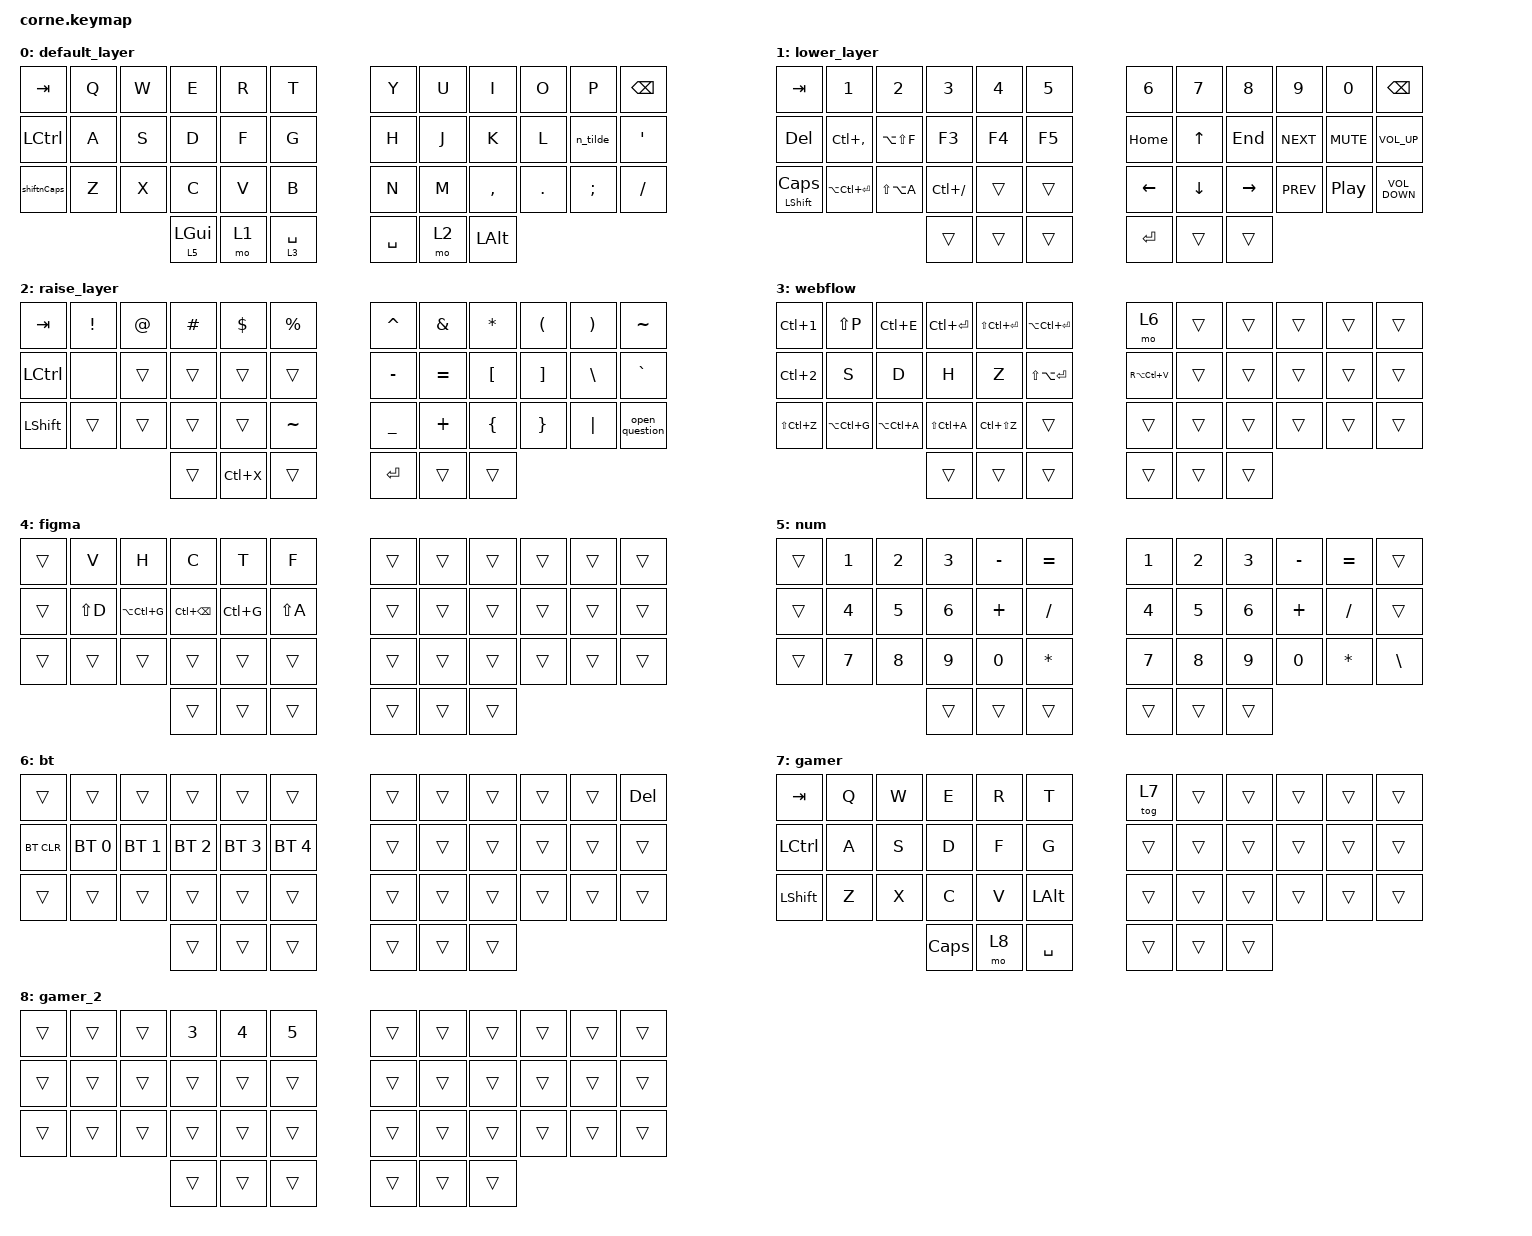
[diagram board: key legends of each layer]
/*
 * Copyright (c) 2020 The ZMK Contributors
 *
 * SPDX-License-Identifier: MIT
 */

#include <behaviors.dtsi>
#include <dt-bindings/zmk/bt.h>
#include <dt-bindings/zmk/keys.h>

/ {
    behaviors {
        shiftnCaps: shiftnCaps {
            compatible = "zmk,behavior-tap-dance";
            label = "Turns caps on on twice";
            #binding-cells = <0>;
            bindings = <&sk LEFT_SHIFT>, <&all_caps_untilspace>;
        };

        all_caps_untilspace: all_caps_untilspace {
            compatible = "zmk,behavior-caps-word";
            label = "ALL_CAPS_UNTILSPACE";
            #binding-cells = <0>;
            continue-list = <A B C D E F G H I J K L M N O P Q R S T U V W X Y Z>;
            mods = <(MOD_LSFT)>;
        };
    };

    macros {
        n_tilde: n_tilde {
            compatible = "zmk,behavior-macro";
            #binding-cells = <0>;
            bindings =
                <&macro_press>,
                <&kp LEFT_ALT>,
                <&macro_tap>,
                <&kp KP_NUMBER_0 &kp KP_NUMBER_2 &kp KP_NUMBER_4 &kp KP_NUMBER_1>,
                <&macro_release>,
                <&kp LEFT_ALT>,
                <&macro_press>;

            label = "N_TILDE";
            wait-ms = <1>;
            tap-ms = <1>;
        };

        open_question: open_question {
            compatible = "zmk,behavior-macro";
            #binding-cells = <0>;
            bindings =
                <&macro_press>,
                <&kp LEFT_ALT>,
                <&macro_tap>,
                <&kp KP_NUMBER_1 &kp KP_NUMBER_6 &kp KP_NUMBER_8>,
                <&macro_release>,
                <&kp LEFT_ALT>,
                <&macro_press>;

            label = "OPEN_QUESTION";
            wait-ms = <1>;
            tap-ms = <1>;
        };
    };

    keymap {
        compatible = "zmk,keymap";

        default_layer {
            // -----------------------------------------------------------------------------------------
            // |  TAB |  Q  |  W  |  E  |  R  |  T  |   |  Y  |  U   |  I  |  O  |  P  | BSPC |
            // | CTRL |  A  |  S  |  D  |  F  |  G  |   |  H  |  J   |  K  |  L  |  ;  |  '   |
            // | SHFT |  Z  |  X  |  C  |  V  |  B  |   |  N  |  M   |  ,  |  .  |  /  | GRAVE  |
            //                    | GUI | LWR | SPC |   | ENT | RSE  | ALT |

            bindings = <
&kp TAB      &kp Q  &kp W  &kp E       &kp R  &kp T          &kp Y      &kp U  &kp I         &kp O       &kp P     &kp BSPC
&kp LCTRL    &kp A  &kp S  &kp D       &kp F  &kp G          &kp H      &kp J  &kp K         &kp L       &n_tilde  &kp APOS
&shiftnCaps  &kp Z  &kp X  &kp C       &kp V  &kp B          &kp N      &kp M  &kp COMMA     &kp PERIOD  &kp SEMI  &kp SLASH
                           &lt 5 LGUI  &mo 1  &lt 3 SPACE    &kp SPACE  &mo 2  &kp LEFT_ALT
            >;
        };

        lower_layer {
            // -----------------------------------------------------------------------------------------
            // |  TAB |  1  |  2  |  3  |  4  |  5  |   |  6  |  7  |  8  |  9  |  0  | BSPC |
            // | BTCLR| BT1 | BT2 | BT3 | BT4 | BT5 |   | LFT | DWN |  UP | RGT |   START   |  END    |
            // | CLOCK | CTRLZ | SS | FMT | F4  | F3 |  |     |      |  K_MUTE   |  K_VOL_DN   |  K_VOL_UP  |  ESC  |
            //                    | GUI |     | SPC |   | ENT |     | ALT |

            bindings = <
&kp TAB              &kp N1             &kp N2         &kp N3         &kp N4  &kp N5    &kp N6    &kp N7          &kp N8     &kp N9      &kp N0      &kp BSPC
&kp DELETE           &kp LC(COMMA)      &kp LA(LS(F))  &kp F3         &kp F4  &kp F5    &kp HOME  &kp UP_ARROW    &kp END    &kp C_NEXT  &kp C_MUTE  &kp C_VOLUME_UP
&mt LSHIFT CAPSLOCK  &kp LA(LC(ENTER))  &kp LS(LA(A))  &kp LC(SLASH)  &trans  &trans    &kp LEFT  &kp DOWN_ARROW  &kp RIGHT  &kp C_PREV  &kp C_PP    &kp C_VOLUME_DOWN
                                                       &trans         &trans  &trans    &kp RET   &trans          &trans
            >;
        };

        raise_layer {
            // -----------------------------------------------------------------------------------------
            // |  TAB |  !  |  @  |  #  |  $  |  %  |   |  ^  |  &  |  *  |  (  |  )  | BSPCDEL |
            // | CTRL |     |     |     |     |     |   |  -  |  =  |  [  |  ]  |  \  |  `   |
            // | SHFT |  F5  |     |     |     |     |   |  _  |  +  |  {  |  }  | "|" |  ~   |
            //                    | GUI |     | SPC |   | ENT |     | ALT |

            bindings = <
&kp TAB    &kp EXCL  &kp AT_SIGN  &kp HASH  &kp DLLR   &kp PRCNT    &kp CARET  &kp AMPS   &kp ASTRK  &kp LPAR  &kp RPAR  &kp TILDE
&kp LCTRL  &none     &trans       &trans    &trans     &trans       &kp MINUS  &kp EQUAL  &kp LBKT   &kp RBKT  &kp BSLH  &kp GRAVE
&kp LSHFT  &trans    &trans       &trans    &trans     &kp TILDE    &kp UNDER  &kp PLUS   &kp LBRC   &kp RBRC  &kp PIPE  &open_question
                                  &trans    &kp LC(X)  &trans       &kp RET    &trans     &trans
            >;
        };

        webflow {
            bindings = <
&kp LC(NUMBER_1)  &kp LS(P)      &kp LC(E)      &kp LC(ENTER)  &kp LS(LC(ENTER))  &kp LA(LC(ENTER))    &mo 6          &trans  &trans  &trans  &trans  &trans
&kp LC(NUMBER_2)  &kp S          &kp D          &kp H          &kp Z              &kp LS(LA(ENTER))    &kp RA(LC(V))  &trans  &trans  &trans  &trans  &trans
&kp LS(LC(Z))     &kp LA(LC(G))  &kp LA(LC(A))  &kp LS(LC(A))  &kp LC(LS(Z))      &trans               &trans         &trans  &trans  &trans  &trans  &trans
                                                &trans         &trans             &trans               &trans         &trans  &trans
            >;
        };

        figma {
            bindings = <
&trans  &kp V      &kp H          &kp C              &kp T      &kp F        &trans  &trans  &trans  &trans  &trans  &trans
&trans  &kp LS(D)  &kp LA(LC(G))  &kp LC(BACKSPACE)  &kp LC(G)  &kp LS(A)    &trans  &trans  &trans  &trans  &trans  &trans
&trans  &trans     &trans         &trans             &trans     &trans       &trans  &trans  &trans  &trans  &trans  &trans
                                  &trans             &trans     &trans       &trans  &trans  &trans
            >;
        };

        num {
            bindings = <
&trans  &kp N1  &kp N2  &kp N3  &kp MINUS  &kp EQUAL    &kp N1  &kp N2  &kp N3  &kp MINUS  &kp EQUAL  &trans
&trans  &kp N4  &kp N5  &kp N6  &kp PLUS   &kp FSLH     &kp N4  &kp N5  &kp N6  &kp PLUS   &kp SLASH  &trans
&trans  &kp N7  &kp N8  &kp N9  &kp N0     &kp STAR     &kp N7  &kp N8  &kp N9  &kp N0     &kp STAR   &kp BACKSLASH
                        &trans  &trans     &trans       &trans  &trans  &trans
            >;
        };

        bt {
            bindings = <
&trans      &trans        &trans        &trans        &trans        &trans          &trans  &trans  &trans  &trans  &trans  &kp DELETE
&bt BT_CLR  &bt BT_SEL 0  &bt BT_SEL 1  &bt BT_SEL 2  &bt BT_SEL 3  &bt BT_SEL 4    &trans  &trans  &trans  &trans  &trans  &trans
&trans      &trans        &trans        &trans        &trans        &trans          &trans  &trans  &trans  &trans  &trans  &trans
                                        &trans        &trans        &trans          &trans  &trans  &trans
            >;
        };

        gamer {
            bindings = <
&kp TAB           &kp Q  &kp W  &kp E         &kp R  &kp T           &tog 7  &trans  &trans  &trans  &trans  &trans
&kp LEFT_CONTROL  &kp A  &kp S  &kp D         &kp F  &kp G           &trans  &trans  &trans  &trans  &trans  &trans
&kp LEFT_SHIFT    &kp Z  &kp X  &kp C         &kp V  &kp LEFT_ALT    &trans  &trans  &trans  &trans  &trans  &trans
                                &kp CAPSLOCK  &mo 8  &kp SPACE       &trans  &trans  &trans
            >;
        };

        gamer_2 {
            bindings = <
&trans  &trans  &trans  &kp NUMBER_3  &kp NUMBER_4  &kp N5    &trans  &trans  &trans  &trans  &trans  &trans
&trans  &trans  &trans  &trans        &trans        &trans    &trans  &trans  &trans  &trans  &trans  &trans
&trans  &trans  &trans  &trans        &trans        &trans    &trans  &trans  &trans  &trans  &trans  &trans
                        &trans        &trans        &trans    &trans  &trans  &trans
            >;
        };
    };

    combos {
        compatible = "zmk,combos";

        combo_esc {
            timeout-ms = <50>;
            key-positions = <0 1>;
            bindings = <&kp ESCAPE>;
        };

        Undo {
            bindings = <&kp LC(Z)>;
            key-positions = <38 25>;
            layers = <2>;
        };

        Redo {
            bindings = <&kp LC(Y)>;
            key-positions = <38 26>;
            layers = <2>;
        };

        figma_layer_activation {
            bindings = <&tog 4>;
            key-positions = <1 2>;
            layers = <3 4>;
        };

        left_enter {
            bindings = <&kp ENTER>;
            key-positions = <38 29>;
            layers = <0 2 1 3 4 5>;
        };

        to_gamer_lay {
            bindings = <&tog 7>;
            key-positions = <6 7 8 19>;
            layers = <1 7>;
        };
    };

    conditional_layers {
        compatible = "zmk,conditional-layers";

        bt_confug {
            if-layers = <1 2 3>;
            then-layer = <6>;
        };
    };
};
